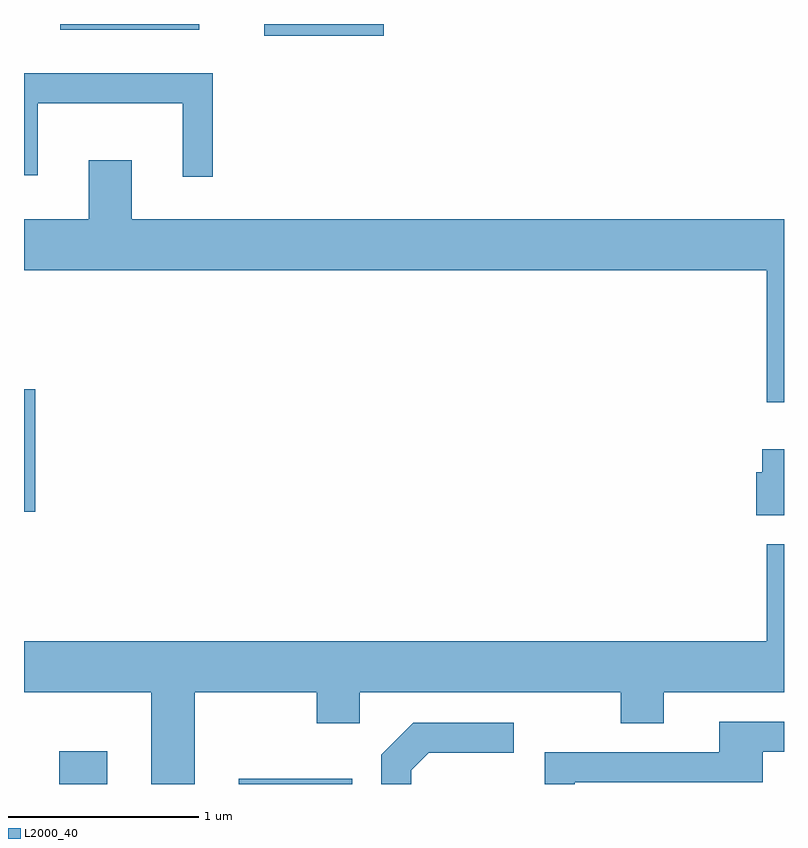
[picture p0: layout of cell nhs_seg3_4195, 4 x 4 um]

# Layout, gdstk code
import gdstk
lib = gdstk.Library(unit=1e-6, precision=1e-09)
def R(c, l, rs):  # rectangles x0, y0, x1, y1
    for r in rs: c.add(gdstk.rectangle(r[:2], r[2:], *l))
def P(c, l, *ps):  # polygons
    for p in ps: c.add(gdstk.Polygon(p, *l))
L2000_40 = (2000, 40)

nhs_seg3_4195 = lib.new_cell('nhs_seg3_4195')
R(nhs_seg3_4195, L2000_40, [(307.796,1209.892,308.049,1210.064), (308.741,1209.892,309.339,1209.919), (307.611,1211.326,307.669,1211.969), (308.876,1213.831,309.504,1213.892), (307.801,1213.861,308.534,1213.892)])
P(nhs_seg3_4195, L2000_40, [(308.604,1213.634),(307.611,1213.634),(307.611,1213.096),(307.684,1213.096),(307.684,1213.476),(308.446,1213.476),(308.446,1213.088),(308.604,1213.088)],
  [(311.611,1212.864),(308.179,1212.864),(308.179,1213.174),(307.951,1213.174),(307.951,1212.864),(307.611,1212.864),(307.611,1212.596),(311.521,1212.596),(311.521,1211.901),(311.611,1211.901)],
  [(311.611,1211.654),(311.496,1211.654),(311.496,1211.534),(311.466,1211.534),(311.466,1211.306),(311.611,1211.306)],
  [(308.509,1210.376),(309.151,1210.376),(309.151,1210.211),(309.379,1210.211),(309.379,1210.376),(310.751,1210.376),(310.751,1210.211),(310.979,1210.211),(310.979,1210.376),(311.611,1210.376),(311.611,1211.154),(311.521,1211.154),(311.521,1210.644),(307.611,1210.644),(307.611,1210.376),(308.281,1210.376),(308.281,1209.892),(308.509,1209.892)],
  [(310.509,1209.901),(311.499,1209.901),(311.499,1210.061),(311.611,1210.061),(311.611,1210.219),(311.271,1210.219),(311.271,1210.059),(310.351,1210.059),(310.351,1209.892),(310.509,1209.892)],
  [(309.649,1209.964),(309.742,1210.056),(310.188,1210.056),(310.188,1210.214),(309.659,1210.214),(309.491,1210.047),(309.491,1209.892),(309.649,1209.892)])

lib.write_gds('nhs_seg3_4195.gds')
